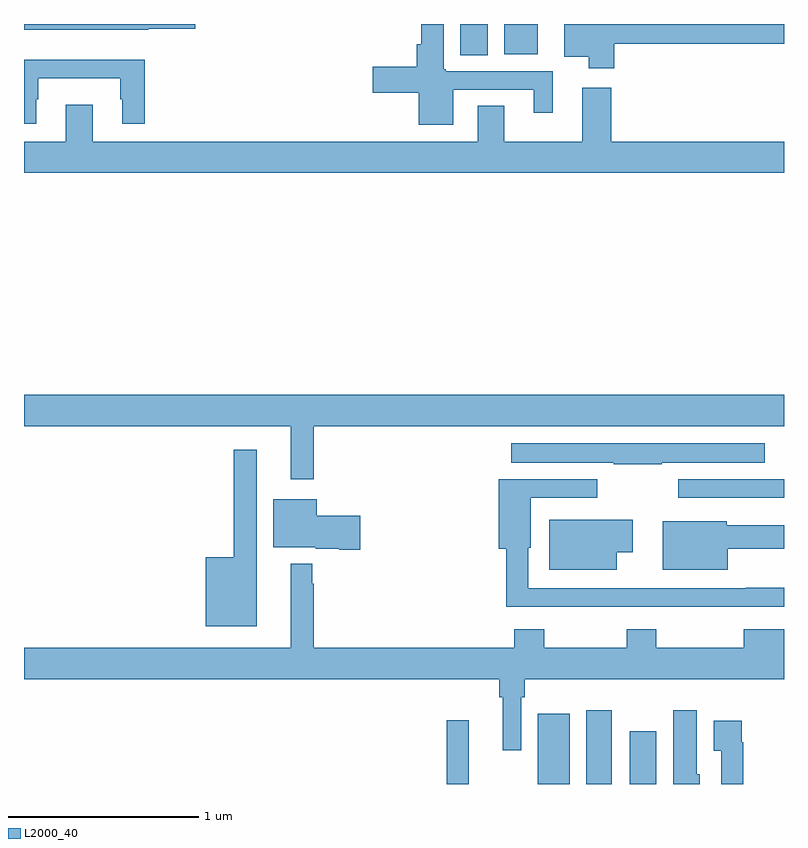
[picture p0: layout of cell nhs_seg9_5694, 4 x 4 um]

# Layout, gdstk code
import gdstk
lib = gdstk.Library(unit=1e-6, precision=1e-09)
def R(c, l, rs):  # rectangles x0, y0, x1, y1
    for r in rs: c.add(gdstk.rectangle(r[:2], r[2:], *l))
def P(c, l, *ps):  # polygons
    for p in ps: c.add(gdstk.Polygon(p, *l))
L2000_40 = (2000, 40)

nhs_seg9_5694 = lib.new_cell('nhs_seg9_5694')
R(nhs_seg9_5694, L2000_40, [(443.705,1230.5,443.872,1230.871), (443.96,1230.5,444.094,1230.889), (444.188,1230.5,444.328,1230.778), (443.297,1234.336,443.44,1234.5), (443.528,1234.34,443.704,1234.5)])
P(nhs_seg9_5694, L2000_40, [(443.26,1234.155),(443.684,1234.155),(443.684,1234.032),(443.782,1234.032),(443.782,1234.251),(443.22,1234.251),(443.22,1234.261),(443.208,1234.261),(443.208,1234.5),(443.092,1234.5),(443.092,1234.393),(443.066,1234.393),(443.066,1234.274),(442.836,1234.274),(442.836,1234.139),(443.078,1234.139),(443.078,1233.971),(443.26,1233.971)],
  [(444.107,1234.396),(445,1234.396),(445,1234.5),(443.843,1234.5),(443.843,1234.328),(443.972,1234.328),(443.972,1234.266),(444.107,1234.266)],
  [(441.654,1234.475),(441.901,1234.475),(441.901,1234.5),(441,1234.5),(441,1234.469),(441.654,1234.469)],
  [(441.064,1234.103),(441.076,1234.103),(441.076,1234.214),(441.507,1234.214),(441.507,1234.103),(441.518,1234.103),(441.518,1233.975),(441.635,1233.975),(441.635,1234.312),(441,1234.312),(441,1233.975),(441.064,1233.975)],
  [(445,1233.88),(444.092,1233.88),(444.092,1234.165),(443.939,1234.165),(443.939,1233.88),(443.527,1233.88),(443.527,1234.07),(443.387,1234.07),(443.387,1233.88),(441.361,1233.88),(441.361,1234.075),(441.221,1234.075),(441.221,1233.88),(441,1233.88),(441,1233.716),(445,1233.716)],
  [(442.525,1232.384),(445,1232.384),(445,1232.548),(441,1232.548),(441,1232.384),(442.403,1232.384),(442.403,1232.103),(442.525,1232.103)],
  [(444.356,1232.192),(444.898,1232.192),(444.898,1232.293),(443.565,1232.293),(443.565,1232.192),(444.103,1232.192),(444.103,1232.182),(444.356,1232.182)],
  [(442.225,1232.26),(442.104,1232.26),(442.104,1231.693),(441.956,1231.693),(441.956,1231.331),(442.225,1231.331)],
  [(444.083,1231.434),(444.415,1231.434),(444.415,1231.433),(444.692,1231.433),(444.692,1231.434),(445,1231.434),(445,1231.532),(444.799,1231.532),(444.799,1231.53),(443.655,1231.53),(443.655,1231.743),(443.668,1231.743),(443.668,1232.007),(444.016,1232.007),(444.016,1232.103),(443.498,1232.103),(443.498,1231.739),(443.539,1231.739),(443.539,1231.434),(443.827,1231.434),(443.827,1231.433),(444.083,1231.433)],
  [(445,1232.103),(444.444,1232.103),(444.444,1232.007),(444.799,1232.007),(444.799,1232.006),(445,1232.006)],
  [(442.771,1231.911),(442.54,1231.911),(442.54,1231.999),(442.313,1231.999),(442.313,1231.745),(442.536,1231.745),(442.536,1231.739),(442.658,1231.739),(442.658,1231.733),(442.771,1231.733)],
  [(444.121,1231.721),(444.205,1231.721),(444.205,1231.891),(443.765,1231.891),(443.765,1231.628),(444.121,1231.628)],
  [(444.703,1231.739),(445,1231.739),(445,1231.861),(444.699,1231.861),(444.699,1231.882),(444.362,1231.882),(444.362,1231.628),(444.703,1231.628)],
  [(443.616,1230.956),(443.636,1230.956),(443.636,1231.052),(445,1231.052),(445,1231.315),(444.788,1231.315),(444.788,1231.216),(444.327,1231.216),(444.327,1231.315),(444.172,1231.315),(444.172,1231.216),(443.739,1231.216),(443.739,1231.315),(443.579,1231.315),(443.579,1231.216),(442.525,1231.216),(442.525,1231.553),(442.517,1231.553),(442.517,1231.66),(442.403,1231.66),(442.403,1231.216),(441,1231.216),(441,1231.052),(443.5,1231.052),(443.5,1230.956),(443.519,1230.956),(443.519,1230.678),(443.616,1230.678)],
  [(444.556,1230.552),(444.541,1230.552),(444.541,1230.889),(444.416,1230.889),(444.416,1230.5),(444.556,1230.5)],
  [(443.34,1230.532),(443.342,1230.532),(443.342,1230.835),(443.224,1230.835),(443.224,1230.5),(443.34,1230.5)],
  [(444.785,1230.719),(444.778,1230.719),(444.778,1230.832),(444.629,1230.832),(444.629,1230.676),(444.669,1230.676),(444.669,1230.5),(444.785,1230.5)])

lib.write_gds('nhs_seg9_5694.gds')
